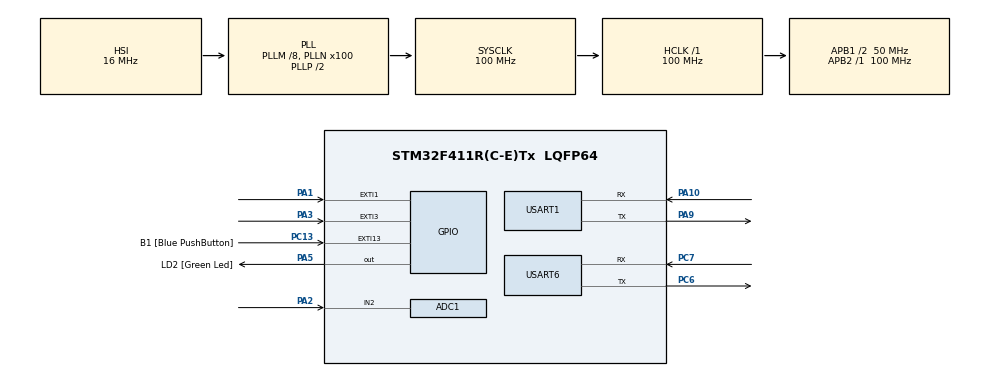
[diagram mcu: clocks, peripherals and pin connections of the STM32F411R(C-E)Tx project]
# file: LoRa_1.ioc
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ADC1.Channel-1\#ChannelRegularConversion=ADC_CHANNEL_2
ADC1.ContinuousConvMode=ENABLE
ADC1.NbrOfConversionFlag=1
ADC1.Rank-1\#ChannelRegularConversion=1
ADC1.SamplingTime-1\#ChannelRegularConversion=ADC_SAMPLETIME_3CYCLES
ADC1.master=1
Mcu.Family=STM32F4
Mcu.Name=STM32F411R(C-E)Tx
Mcu.Package=LQFP64
NVIC.EXTI1_IRQn=true\:0\:0\:false\:false\:true\:true\:true\:true
NVIC.EXTI3_IRQn=true\:0\:0\:false\:false\:true\:true\:true\:true
NVIC.PriorityGroup=NVIC_PRIORITYGROUP_0
PA1.GPIO_PuPd=GPIO_PULLDOWN
PA1.Signal=GPXTI1
PA10.Mode=Asynchronous
PA10.Signal=USART1_RX
PA13.GPIO_Label=TMS
PA13.Mode=Serial_Wire
PA13.Signal=SYS_JTMS-SWDIO
PA14.GPIO_Label=TCK
PA14.Mode=Serial_Wire
PA14.Signal=SYS_JTCK-SWCLK
PA2.Signal=ADCx_IN2
PA3.GPIO_PuPd=GPIO_PULLDOWN
PA3.Signal=GPXTI3
PA5.GPIO_Label=LD2 [Green Led]
PA5.Signal=GPIO_Output
PA9.Mode=Asynchronous
PA9.Signal=USART1_TX
PB3.GPIO_Label=SWO
PB3.Signal=SYS_JTDO-SWO
PC13-ANTI_TAMP.GPIO_Label=B1 [Blue PushButton]
PC13-ANTI_TAMP.GPIO_ModeDefaultEXTI=GPIO_MODE_IT_FALLING
PC13-ANTI_TAMP.Signal=GPXTI13
PC14-OSC32_IN.Mode=LSE-External-Oscillator
PC14-OSC32_IN.Signal=RCC_OSC32_IN
PC15-OSC32_OUT.Mode=LSE-External-Oscillator
PC15-OSC32_OUT.Signal=RCC_OSC32_OUT
PC6.Mode=Asynchronous
PC6.Signal=USART6_TX
PC7.Mode=Asynchronous
PC7.Signal=USART6_RX
PH0\ -\ OSC_IN.Mode=HSE-External-Clock-Source
PH0\ -\ OSC_IN.Signal=RCC_OSC_IN
PH1\ -\ OSC_OUT.Mode=HSE-External-Clock-Source
PH1\ -\ OSC_OUT.Signal=RCC_OSC_OUT
ProjectManager.HeapSize=0x200
ProjectManager.StackSize=0x400
ProjectManager.TargetToolchain=STM32CubeIDE
RCC.48MHZClocksFreq_Value=50000000
RCC.AHBFreq_Value=100000000
RCC.APB1CLKDivider=RCC_HCLK_DIV2
RCC.APB1Freq_Value=50000000
RCC.APB1TimFreq_Value=100000000
RCC.APB2Freq_Value=100000000
RCC.APB2TimFreq_Value=100000000
RCC.CortexFreq_Value=100000000
RCC.FLatency-AdvancedSettings=FLASH_LATENCY_3
RCC.HCLKFreq_Value=100000000
RCC.HSE_VALUE=8000000
RCC.HSI_VALUE=16000000
RCC.PLLM=8
RCC.PLLN=100
RCC.SYSCLKFreq_VALUE=100000000
RCC.SYSCLKSource=RCC_SYSCLKSOURCE_PLLCLK
RCC.VCOOutputFreq_Value=200000000
SH.ADCx_IN2.0=ADC1_IN2,IN2
USART1.VirtualMode=VM_ASYNC
USART6.VirtualMode=VM_ASYNC
board=NUCLEO-F411RE

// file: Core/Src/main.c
/* USER CODE BEGIN Header */
/**
  ******************************************************************************
  * @file           : main.c
  * @brief          : Main program body
  ******************************************************************************
  * @attention
  *
  * Copyright (c) 2023 STMicroelectronics.
  * All rights reserved.
  *
  * This software is licensed under terms that can be found in the LICENSE file
  * in the root directory of this software component.
  * If no LICENSE file comes with this software, it is provided AS-IS.
  *
  ******************************************************************************
  */
/* USER CODE END Header */
#include "main.h"

/* USER CODE BEGIN Includes */
//#include "fonts.h"
//#include "ssd1306.h"

/* USER CODE END Includes */

ADC_HandleTypeDef hadc1;

UART_HandleTypeDef huart1;
UART_HandleTypeDef huart6;

/* USER CODE BEGIN PV */
uint32_t previousTick = 0;
uint16_t readValue;
uint8_t charValue;
uint8_t singleChar[1] = {0};
uint8_t dataBuffer[20] = {0};
uint8_t dataIndex = 0;
uint8_t txBuffer[20] = {0};
uint8_t rxBuffer[20] = {0};
uint8_t rxIndex = 0;
uint8_t rxData;
uint8_t counter = 0;
/* USER CODE END PV */

void SystemClock_Config(void);
static void MX_GPIO_Init(void);
static void MX_ADC1_Init(void);
static void MX_USART1_UART_Init(void);
static void MX_USART6_UART_Init(void);

int main(void)
{

  /* MCU Configuration--------------------------------------------------------*/

  /* Reset of all peripherals, Initializes the Flash interface and the Systick. */
  HAL_Init();

  /* Configure the system clock */
  SystemClock_Config();

  /* Initialize all configured peripherals */
  MX_GPIO_Init();
  MX_ADC1_Init();
  MX_USART1_UART_Init();
  MX_USART6_UART_Init();
  /* USER CODE BEGIN 2 */
//  SSD1306_Init();
  HAL_UART_Receive_IT(&huart1,&rxData,1);
  /* USER CODE END 2 */

  /* Infinite loop */
  while (1)
  {
	  rxBuffer[0] = counter;
HAL_UART_Transmit_IT(&huart1, rxBuffer, 1);

if (HAL_UART_Receive_IT(&huart6, rxBuffer, 1)){
	rxBuffer[0] = counter++;
}

HAL_Delay(1000);

  }
}

void SystemClock_Config(void)
{
  RCC_OscInitTypeDef RCC_OscInitStruct = {0};
  RCC_ClkInitTypeDef RCC_ClkInitStruct = {0};

  /** Configure the main internal regulator output voltage
  */
  __HAL_RCC_PWR_CLK_ENABLE();
  __HAL_PWR_VOLTAGESCALING_CONFIG(PWR_REGULATOR_VOLTAGE_SCALE1);

  /** Initializes the RCC Oscillators according to the specified parameters
  * in the RCC_OscInitTypeDef structure.
  */
  RCC_OscInitStruct.OscillatorType = RCC_OSCILLATORTYPE_HSI;
  RCC_OscInitStruct.HSIState = RCC_HSI_ON;
  RCC_OscInitStruct.HSICalibrationValue = RCC_HSICALIBRATION_DEFAULT;
  RCC_OscInitStruct.PLL.PLLState = RCC_PLL_ON;
  RCC_OscInitStruct.PLL.PLLSource = RCC_PLLSOURCE_HSI;
  RCC_OscInitStruct.PLL.PLLM = 8;
  RCC_OscInitStruct.PLL.PLLN = 100;
  RCC_OscInitStruct.PLL.PLLP = RCC_PLLP_DIV2;
  RCC_OscInitStruct.PLL.PLLQ = 4;
  if (HAL_RCC_OscConfig(&RCC_OscInitStruct) != HAL_OK)
  {
    Error_Handler();
  }

  /** Initializes the CPU, AHB and APB buses clocks
  */
  RCC_ClkInitStruct.ClockType = RCC_CLOCKTYPE_HCLK|RCC_CLOCKTYPE_SYSCLK
                              |RCC_CLOCKTYPE_PCLK1|RCC_CLOCKTYPE_PCLK2;
  RCC_ClkInitStruct.SYSCLKSource = RCC_SYSCLKSOURCE_PLLCLK;
  RCC_ClkInitStruct.AHBCLKDivider = RCC_SYSCLK_DIV1;
  RCC_ClkInitStruct.APB1CLKDivider = RCC_HCLK_DIV2;
  RCC_ClkInitStruct.APB2CLKDivider = RCC_HCLK_DIV1;

  if (HAL_RCC_ClockConfig(&RCC_ClkInitStruct, FLASH_LATENCY_3) != HAL_OK)
  {
    Error_Handler();
  }
}

static void MX_ADC1_Init(void)
{

  ADC_ChannelConfTypeDef sConfig = {0};

  /** Configure the global features of the ADC (Clock, Resolution, Data Alignment and number of conversion)
  */
  hadc1.Instance = ADC1;
  hadc1.Init.ClockPrescaler = ADC_CLOCK_SYNC_PCLK_DIV4;
  hadc1.Init.Resolution = ADC_RESOLUTION_12B;
  hadc1.Init.ScanConvMode = DISABLE;
  hadc1.Init.ContinuousConvMode = ENABLE;
  hadc1.Init.DiscontinuousConvMode = DISABLE;
  hadc1.Init.ExternalTrigConvEdge = ADC_EXTERNALTRIGCONVEDGE_NONE;
  hadc1.Init.ExternalTrigConv = ADC_SOFTWARE_START;
  hadc1.Init.DataAlign = ADC_DATAALIGN_RIGHT;
  hadc1.Init.NbrOfConversion = 1;
  hadc1.Init.DMAContinuousRequests = DISABLE;
  hadc1.Init.EOCSelection = ADC_EOC_SINGLE_CONV;
  if (HAL_ADC_Init(&hadc1) != HAL_OK)
  {
    Error_Handler();
  }

  /** Configure for the selected ADC regular channel its corresponding rank in the sequencer and its sample time.
  */
  sConfig.Channel = ADC_CHANNEL_2;
  sConfig.Rank = 1;
  sConfig.SamplingTime = ADC_SAMPLETIME_3CYCLES;
  if (HAL_ADC_ConfigChannel(&hadc1, &sConfig) != HAL_OK)
  {
    Error_Handler();
  }

}

static void MX_USART1_UART_Init(void)
{

  huart1.Instance = USART1;
  huart1.Init.BaudRate = 115200;
  huart1.Init.WordLength = UART_WORDLENGTH_8B;
  huart1.Init.StopBits = UART_STOPBITS_1;
  huart1.Init.Parity = UART_PARITY_NONE;
  huart1.Init.Mode = UART_MODE_TX_RX;
  huart1.Init.HwFlowCtl = UART_HWCONTROL_NONE;
  huart1.Init.OverSampling = UART_OVERSAMPLING_16;
  if (HAL_UART_Init(&huart1) != HAL_OK)
  {
    Error_Handler();
  }

}

static void MX_USART6_UART_Init(void)
{

  huart6.Instance = USART6;
  huart6.Init.BaudRate = 115200;
  huart6.Init.WordLength = UART_WORDLENGTH_8B;
  huart6.Init.StopBits = UART_STOPBITS_1;
  huart6.Init.Parity = UART_PARITY_NONE;
  huart6.Init.Mode = UART_MODE_TX_RX;
  huart6.Init.HwFlowCtl = UART_HWCONTROL_NONE;
  huart6.Init.OverSampling = UART_OVERSAMPLING_16;
  if (HAL_UART_Init(&huart6) != HAL_OK)
  {
    Error_Handler();
  }

}

static void MX_GPIO_Init(void)
{
  GPIO_InitTypeDef GPIO_InitStruct = {0};

  /* GPIO Ports Clock Enable */
  __HAL_RCC_GPIOC_CLK_ENABLE();
  __HAL_RCC_GPIOH_CLK_ENABLE();
  __HAL_RCC_GPIOA_CLK_ENABLE();
  __HAL_RCC_GPIOB_CLK_ENABLE();

  /*Configure GPIO pin Output Level */
  HAL_GPIO_WritePin(LD2_GPIO_Port, LD2_Pin, GPIO_PIN_RESET);

  /*Configure GPIO pin : B1_Pin */
  GPIO_InitStruct.Pin = B1_Pin;
  GPIO_InitStruct.Mode = GPIO_MODE_IT_FALLING;
  GPIO_InitStruct.Pull = GPIO_NOPULL;
  HAL_GPIO_Init(B1_GPIO_Port, &GPIO_InitStruct);

  /*Configure GPIO pins : PA1 PA3 */
  GPIO_InitStruct.Pin = GPIO_PIN_1|GPIO_PIN_3;
  GPIO_InitStruct.Mode = GPIO_MODE_IT_RISING;
  GPIO_InitStruct.Pull = GPIO_PULLDOWN;
  HAL_GPIO_Init(GPIOA, &GPIO_InitStruct);

  /*Configure GPIO pin : LD2_Pin */
  GPIO_InitStruct.Pin = LD2_Pin;
  GPIO_InitStruct.Mode = GPIO_MODE_OUTPUT_PP;
  GPIO_InitStruct.Pull = GPIO_NOPULL;
  GPIO_InitStruct.Speed = GPIO_SPEED_FREQ_LOW;
  HAL_GPIO_Init(LD2_GPIO_Port, &GPIO_InitStruct);

  /* EXTI interrupt init*/
  HAL_NVIC_SetPriority(EXTI1_IRQn, 0, 0);
  HAL_NVIC_EnableIRQ(EXTI1_IRQn);

  HAL_NVIC_SetPriority(EXTI3_IRQn, 0, 0);
  HAL_NVIC_EnableIRQ(EXTI3_IRQn);

}

/* USER CODE BEGIN 4 */
void HAL_GPIO_EXTI_Callback(uint16_t GPIO_Pin)
{
  if (GPIO_Pin == GPIO_PIN_3 && (HAL_GetTick() - previousTick > 600))
  {
    txBuffer[dataIndex]=charValue;
    dataBuffer[dataIndex++]=charValue;
    txBuffer[dataIndex]=13;
    HAL_UART_Transmit_IT(&huart1,(uint8_t *)txBuffer,dataIndex+1);
    previousTick = HAL_GetTick();
  }
  else if (GPIO_Pin == GPIO_PIN_1 && (HAL_GetTick() - previousTick > 600))
  {
    dataIndex--;
    dataBuffer[dataIndex]=0;
    txBuffer[dataIndex]=13;
    HAL_UART_Transmit_IT(&huart1,(uint8_t *)txBuffer,dataIndex+1);
//    SSD1306_Clear();
    previousTick = HAL_GetTick();
  }
}
void HAL_UART_RxCpltCallback(UART_HandleTypeDef *huart)
{
  if(huart->Instance==USART1)
  {
    // if the character received is other than 'enter' ascii13, save the data in buffer
    if(rxData!=13)
    {
      if(rxIndex==0)
      {
        memset(rxBuffer,0,sizeof(rxBuffer));
      }
      rxBuffer[rxIndex++]=rxData;
    }
    else
    {
      SSD1306_Clear();
      rxIndex=0;
    }
    HAL_UART_Receive_IT(&huart1,&rxData,1); // Enabling interrupt receive again
  }
}
/* USER CODE END 4 */

void Error_Handler(void)
{
  __disable_irq();
  while (1)
  {
  }
}
